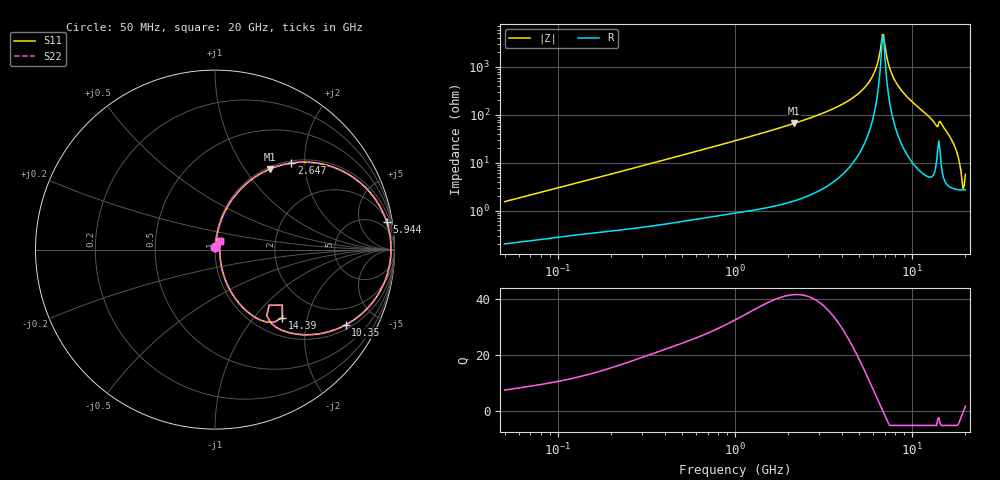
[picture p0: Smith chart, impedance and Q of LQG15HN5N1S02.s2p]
!Murata Part Number: LQG15HN5N1S02
!These Parameters are Measured in Series Mode Connection
!  o--[Z]--o
!Port1  Port2
!  o-------o
!Freq. Start=50[MHz] Stop=20[GHz], 401[Steps]
# Hz S RI R 50
!Freq.(Hz) S11(Real) S11(Imag) S21(Real) S21(Imag) S12(Real) S12(Imag) S22(Real) S22(Imag)
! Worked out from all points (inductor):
!   401 points, 50 MHz to 20 GHz, reference 50 ohm
!   read as one part in series: L = 4.84 nH near 51.52 MHz
!   highest Q = 41.4 at 2.147 GHz (marker M1), where L = 4.9 nH
!   self-resonance near 6.802 GHz
!   S11 on the Smith chart (normalised r, x): 50 MHz: 1.00, +0.03; 2.647 GHz: 1.04, +1.72; 5.944 GHz: 2, +12; 10.35 GHz: 1.18, -3.35; 14.39 GHz: 1.34, -1.42; 20 GHz: 1.05, +0.10
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5e7  0.00227 0.0153  0.9977 -0.0153  0.9977 -0.0153  0.00227 0.0153
1.364002e8  0.00482 0.0399  0.9952 -0.0399  0.9952 -0.0399  0.00482 0.0399
3.721004e8  0.0162 0.105  0.9838 -0.105  0.9838 -0.105  0.0162 0.105
1e9  0.0834 0.2615  0.9166 -0.2615  0.9166 -0.2615  0.0834 0.2615
2.146657e9  0.3081 0.4498  0.6919 -0.4498  0.6919 -0.4498  0.3081 0.4498
2.647493e9  0.4259 0.4823  0.5741 -0.4823  0.5741 -0.4823  0.4259 0.4823
2.728004e9  0.445 0.4847  0.555 -0.4847  0.555 -0.4847  0.445 0.4847
4.472136e9  0.8027 0.3781  0.1973 -0.3781  0.1973 -0.3781  0.8027 0.3781
5.944466e9  0.9575 0.1519  0.0425 -0.1519  0.0425 -0.1519  0.9575 0.1519
6.311513e9  0.9731 0.09  0.0269 -0.09  0.0269 -0.09  0.9731 0.09
6.802353e9  0.9809 0.00797  0.0191 -0.00797  0.0191 -0.00797  0.9809 0.00797
7.009217e9  0.98 -0.0259  0.02 0.0259  0.02 0.0259  0.98 -0.0259
7.442007e9  0.9709 -0.0944  0.0291 0.0944  0.0291 0.0944  0.9709 -0.0944
8.389408e9  0.9208 -0.2295  0.0792 0.2295  0.0792 0.2295  0.9208 -0.2295
1.034674e10  0.7272 -0.42  0.2728 0.42  0.2728 0.42  0.7272 -0.42
1.220001e10  0.4923 -0.4742  0.5077 0.4742  0.5077 0.4742  0.4923 -0.4742
1.354865e10  0.3099 -0.4071  0.6901 0.4071  0.6901 0.4071  0.3099 -0.4071
1.438523e10  0.3753 -0.3791  0.6247 0.3791  0.6247 0.3791  0.3753 -0.3791
1.696185e10  0.091 -0.2385  0.909 0.2385  0.909 0.2385  0.091 -0.2385
1.800918e10  0.0476 -0.1403  0.9524 0.1403  0.9524 0.1403  0.0476 -0.1403
1.912117e10  0.0277 -0.0342  0.9723 0.0342  0.9723 0.0342  0.0277 -0.0342
2e10  0.0291 0.0474  0.9709 -0.0474  0.9709 -0.0474  0.0291 0.0474
